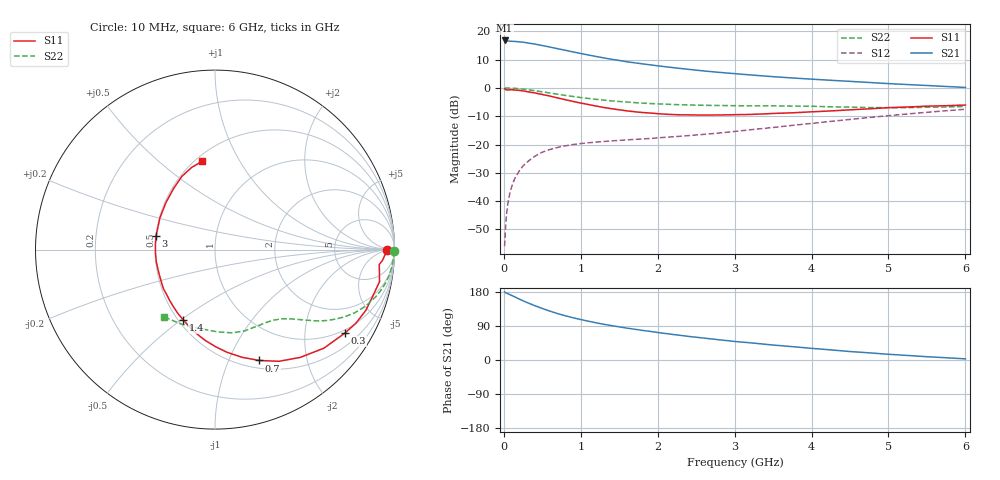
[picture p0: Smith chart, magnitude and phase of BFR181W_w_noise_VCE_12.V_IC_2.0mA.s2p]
! Infineon Technologies  Discrete & RF Semiconductors
! BFR181W
! VCE =  12. V,  IC =  2.0 mA
! Common Emitter S-Parameters:  Jan 2017
# GHz  S  MA  R  50
!  f  S11  S21  S12  S22
! GHz  MAG  ANG  MAG  ANG  MAG  ANG  MAG  ANG
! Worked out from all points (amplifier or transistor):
!   77 points, 10 MHz to 6 GHz, reference 50 ohm
!   highest |S21| = 16.8 dB at 10 MHz (marker M1)
!   |S21| within 3 dB of that: start of sweep to 713.3 MHz
!   unconditionally stable (mu >= 1): 1.916 GHz to 3.974 GHz
!   at 130 MHz: K = 0.08, MSG = 24.6 dB, |S12| = -32.8 dB
!   at 2.2 GHz: K = 1.07, MAG = 10.7 dB, |S12| = -17.3 dB
!   at 6 GHz: K = 0.84, MSG = 3.9 dB, |S12| = -7.5 dB
!   lowest NFmin = 0.84 dB at 450 MHz
!   S11 on the Smith chart (normalised r, x): 10 MHz: 45, -5; 300 MHz: 0.89, -3.18; 700 MHz: 0.59, -1.30; 1.4 GHz: 0.53, -0.51; 3 GHz: 0.50, +0.08; 6 GHz: 0.54, +0.71
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0.01  0.9573 -0.3  6.895 179.7  0.0016 82.2  1 -0.6
0.02  0.9364 -3.5  6.795 177.8  0.003 88.1  0.9964 -0.9
0.04  0.9247 -4.6  6.762 176.1  0.0067 85.5  0.9958 -2.2
0.09  0.9302 -9.9  6.684 171.5  0.0158 84.6  0.9905 -5.1
0.15  0.9152 -17.0  6.616 165.9  0.0263 79.9  0.9811 -8.5
0.2  0.9061 -21.9  6.507 160.8  0.0341 77.2  0.9679 -11.2
0.3  0.8606 -32.7  6.264 151.7  0.0484 70.4  0.9345 -16.2
0.4  0.8183 -42.2  5.975 143.5  0.0618 65.5  0.8959 -20.6
0.5  0.7661 -51.6  5.61 136.0  0.0732 60.6  0.8537 -24.4
0.6  0.7172 -60.2  5.271 128.9  0.0819 56.7  0.8123 -27.5
0.7  0.6648 -68.3  4.922 122.4  0.0889 53.8  0.7731 -30.1
0.9  0.5769 -83.2  4.324 111.4  0.1 49.3  0.7055 -34.3
1.1  0.5087 -96.2  3.814 102.4  0.1075 46.5  0.6515 -37.2
1.4  0.4294 -114.4  3.213 90.7  0.116 44.9  0.5907 -41.1
1.7  0.3794 -131.7  2.776 81.2  0.1231 45.3  0.5502 -44.5
2.1  0.3431 -153.0  2.368 70.0  0.1341 47.5  0.5159 -49.4
2.4  0.3342 -168.0  2.13 62.3  0.1437 49.6  0.4997 -53.6
3  0.3369 167.1  1.787 48.9  0.1701 53.5  0.4852 -62.2
3.1  0.3379 163.6  1.742 47.2  0.176 54.0  0.4839 -63.7
4.1  0.3835 133.8  1.402 29.1  0.2439 55.5  0.4698 -80.1
5.1  0.4524 112.6  1.173 13.9  0.3326 50.8  0.4474 -103.8
6  0.4978 98.1  1.02 3.0  0.4199 43.2  0.4704 -127.3
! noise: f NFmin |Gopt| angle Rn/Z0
0.45  0.84  0.56  18  0.32
0.9  0.9  0.51  33  0.3
1.9  1.35  0.31  81  0.23
2.4  1.58  0.27  95  0.25
